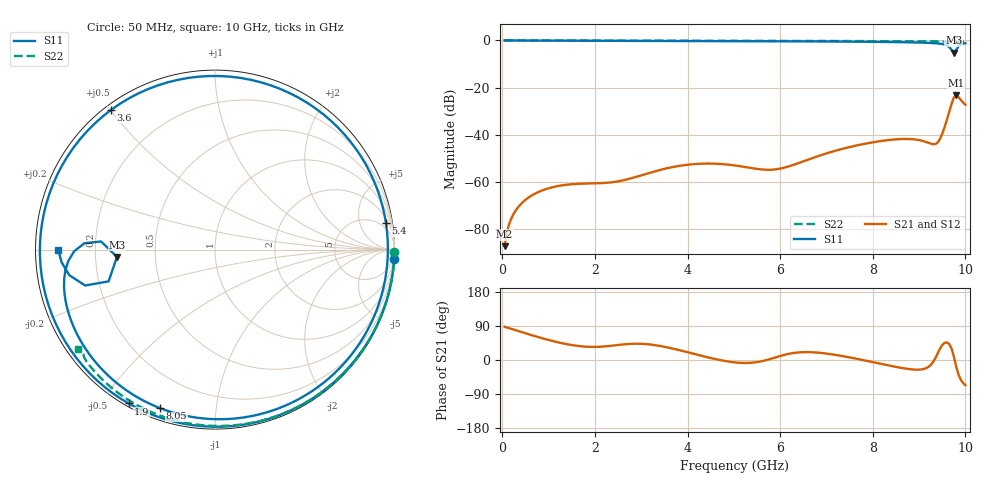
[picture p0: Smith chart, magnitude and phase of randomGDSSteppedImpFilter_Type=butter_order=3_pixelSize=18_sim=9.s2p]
! freq	dB(S11)	phase(S11)	dB(S12)	phase(S12)
!  dB(S21)	phase(S21)	dB(S22)	phase(S22)
!S-par simulation data
#  GHz  S  DB  R 50
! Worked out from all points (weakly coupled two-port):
!   200 points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, 50 MHz to 10 GHz, reference 50 ohm
!   highest |S21| = -23.25 dB at 9.8 GHz (marker M1); lowest = -87.2 dB at 50 MHz (marker M2)
!   lowest |S11| = -5.2 dB at 9.75 GHz (marker M3), VSWR 3.42, Z = 14.6 - j1.71 ohm
!   |S11| at or under -10 dB: nowhere
!   |S22| runs from -0.6 to 0.0 dB; largest |S21 - S12| = 0
!   S11 on the Smith chart (normalised r, x): 50 MHz: 0, -36; 1.9 GHz: 0.01, -0.58; 3.6 GHz: 0.02, +0.50; 5.4 GHz: 3, +12; 8.05 GHz: 0.05, -0.71; 10 GHz: 0.07, -0.00
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0.05  -0.00 -3.2  -87.23 87.6  -87.23 87.6  -0.00 -0.8
0.35  -0.03 -22.0  -70.50 76.3  -70.50 76.3  -0.01 -5.9
0.65  -0.05 -40.8  -65.56 64.9  -65.56 64.9  -0.01 -10.8
1.2  -0.09 -75.2  -61.74 46.8  -61.74 46.8  -0.03 -19.9
1.75  -0.14 -109.8  -60.69 35.7  -60.69 35.7  -0.04 -28.9
1.9  -0.15 -119.3  -60.62 34.6  -60.62 34.6  -0.04 -31.3
2.7  -0.20 -171.5  -58.88 42.1  -58.88 42.1  -0.06 -44.0
3.4  -0.25 140.7  -54.93 37.1  -54.93 37.1  -0.07 -54.9
3.6  -0.26 126.7  -54.00 32.3  -54.00 32.3  -0.08 -57.9
4.3  -0.29 78.0  -52.25 11.1  -52.25 11.1  -0.10 -68.4
5.05  -0.31 29.3  -53.08 -6.7  -53.08 -6.7  -0.12 -79.2
5.4  -0.32 8.8  -54.17 -7.1  -54.17 -7.1  -0.14 -84.2
5.95  -0.34 -20.6  -54.52 8.8  -54.52 8.8  -0.16 -91.8
6.7  -0.39 -55.4  -49.84 20.4  -49.84 20.4  -0.20 -101.9
7.35  -0.46 -82.1  -45.93 10.2  -45.93 10.2  -0.24 -110.5
8.05  -0.58 -109.1  -43.02 -6.8  -43.02 -6.8  -0.29 -119.6
8.35  -0.65 -120.6  -42.20 -14.5  -42.20 -14.5  -0.32 -123.4
9.4  -1.25 -166.3  -43.30 16.9  -43.30 16.9  -0.43 -136.9
9.65  -2.75 177.2  -30.34 42.2  -30.34 42.2  -0.49 -140.2
9.75  -5.23 -175.7  -24.21 9.7  -24.21 9.7  -0.55 -141.3
9.8  -4.17 -163.4  -23.25 -16.7  -23.25 -16.7  -0.56 -141.6
10  -1.18 -179.9  -27.28 -66.5  -27.28 -66.5  -0.51 -144.1
